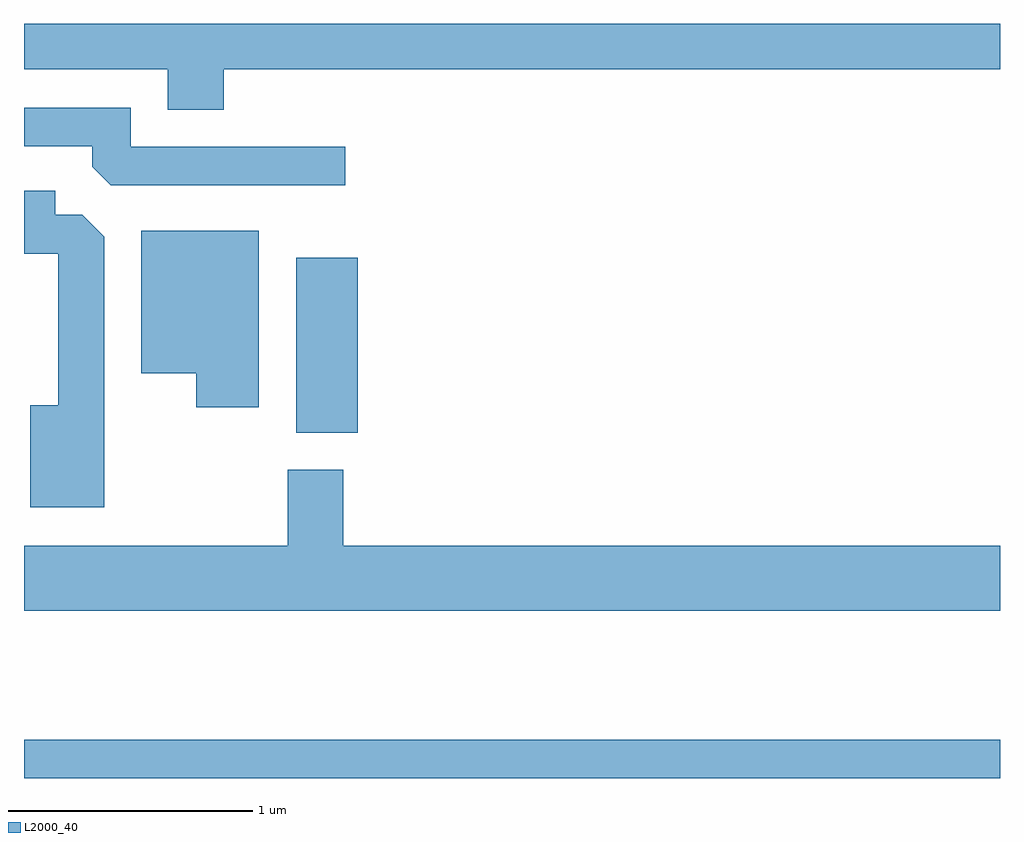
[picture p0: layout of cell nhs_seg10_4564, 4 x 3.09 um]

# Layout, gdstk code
import gdstk
lib = gdstk.Library(unit=1e-6, precision=1e-09)
def R(c, l, rs):  # rectangles x0, y0, x1, y1
    for r in rs: c.add(gdstk.rectangle(r[:2], r[2:], *l))
def P(c, l, *ps):  # polygons
    for p in ps: c.add(gdstk.Polygon(p, *l))
L2000_40 = (2000, 40)

nhs_seg10_4564 = lib.new_cell('nhs_seg10_4564')
R(nhs_seg10_4564, L2000_40, [(319.611,2135.431,323.611,2135.589), (320.726,2136.846,320.979,2137.564)])
P(nhs_seg10_4564, L2000_40, [(320.429,2138.336),(323.611,2138.336),(323.611,2138.522),(319.611,2138.522),(319.611,2138.336),(320.201,2138.336),(320.201,2138.171),(320.429,2138.171)],
  [(320.928,2138.019),(320.049,2138.019),(320.049,2138.179),(319.611,2138.179),(319.611,2138.021),(319.891,2138.021),(319.891,2137.937),(319.967,2137.861),(320.928,2137.861)],
  [(319.939,2137.649),(319.849,2137.739),(319.739,2137.739),(319.739,2137.839),(319.611,2137.839),(319.611,2137.581),(319.751,2137.581),(319.751,2136.959),(319.636,2136.959),(319.636,2136.541),(319.939,2136.541)],
  [(320.574,2137.674),(320.091,2137.674),(320.091,2137.091),(320.316,2137.091),(320.316,2136.951),(320.574,2136.951)],
  [(323.611,2136.384),(320.919,2136.384),(320.919,2136.694),(320.691,2136.694),(320.691,2136.384),(319.611,2136.384),(319.611,2136.116),(323.611,2136.116)])

lib.write_gds('nhs_seg10_4564.gds')
